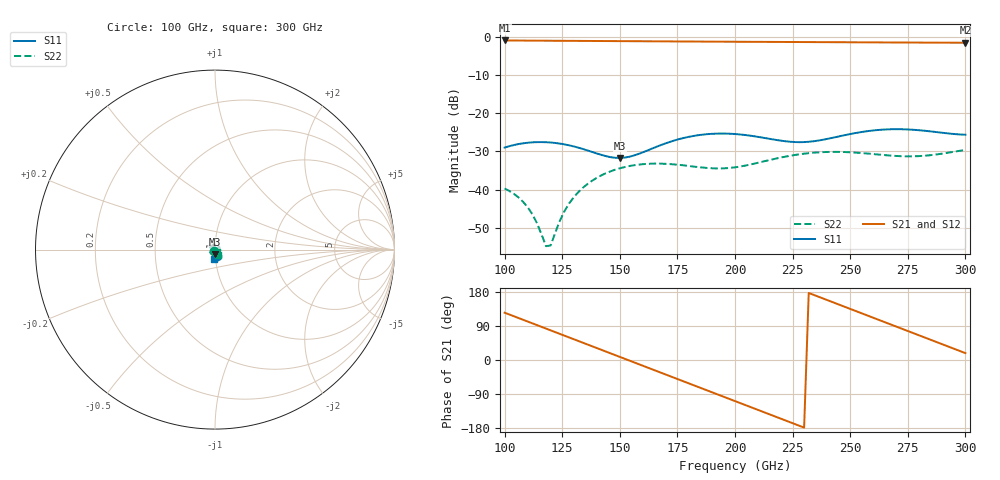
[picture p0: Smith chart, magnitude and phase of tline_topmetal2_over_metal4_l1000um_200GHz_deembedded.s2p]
! Created with skrf 2.0.1 (http://scikit-rf.org).
# GHz S DB R 50.0
!freq dBS11 angS11 dBS21 angS21 dBS12 angS12 dBS22 angS22
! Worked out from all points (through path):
!   101 points, 100 GHz to 300 GHz, reference 50 ohm
!   highest |S21| = -0.90 dB at 100 GHz (marker M1); lowest = -1.5 dB at 300 GHz (marker M2)
!   group delay of S21, straight-line fit = 6.48 ps
!   lowest |S11| = -31.7 dB at 150 GHz (marker M3), VSWR 1.05, Z = 49.8 - j2.59 ohm
!   |S11| at or under -10 dB: start of sweep to end of sweep
!   |S22| runs from -54.9 to -29.6 dB; largest |S21 - S12| = 1.6e-13
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100  -29.00 -72.1  -0.90 124.9  -0.90 124.9  -39.74 -116.8
110  -27.73 -84.8  -0.94 101.5  -0.94 101.5  -44.64 -132.8
114  -27.57 -90.0  -0.95 92.2  -0.95 92.2  -48.76 -132.1
118  -27.59 -94.9  -0.97 82.9  -0.97 82.9  -54.86 -100.5
120  -27.67 -97.3  -0.97 78.2  -0.97 78.2  -54.67 -62.1
126  -28.16 -103.3  -0.99 64.2  -0.99 64.2  -45.65 -31.0
134  -29.37 -107.7  -1.02 45.5  -1.02 45.5  -39.53 -44.1
150  -31.72 -92.5  -1.08 8.2  -1.08 8.2  -34.43 -88.9
158  -30.70 -79.3  -1.10 -10.5  -1.10 -10.5  -33.48 -114.8
168  -28.31 -74.6  -1.14 -33.8  -1.14 -33.8  -33.22 -150.7
184  -25.75 -84.3  -1.19 -71.1  -1.19 -71.1  -34.11 140.5
192  -25.34 -91.4  -1.22 -89.8  -1.22 -89.8  -34.47 99.4
200  -25.45 -97.7  -1.24 -108.4  -1.24 -108.4  -34.18 55.9
218  -27.01 -102.0  -1.29 -150.4  -1.29 -150.4  -31.86 -33.5
226  -27.55 -96.9  -1.31 -169.1  -1.31 -169.1  -30.94 -68.3
234  -27.35 -89.9  -1.33 172.2  -1.33 172.2  -30.35 -101.8
242  -26.48 -85.4  -1.35 153.5  -1.35 153.5  -30.13 -135.1
252  -25.22 -85.4  -1.38 130.2  -1.38 130.2  -30.30 -177.9
268  -24.19 -92.8  -1.43 92.8  -1.43 92.8  -31.12 106.7
282  -24.57 -98.6  -1.46 60.2  -1.46 60.2  -31.15 33.5
292  -25.25 -98.2  -1.48 36.8  -1.48 36.8  -30.40 -17.9
300  -25.63 -94.2  -1.50 18.1  -1.50 18.1  -29.61 -56.4
